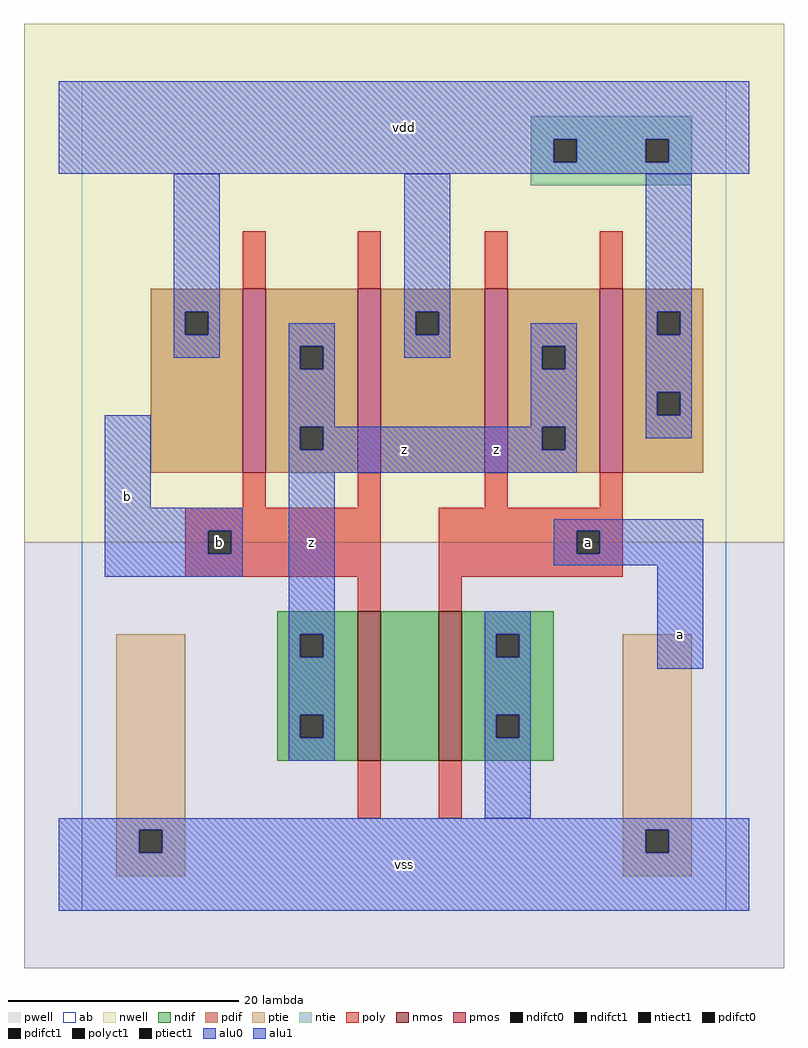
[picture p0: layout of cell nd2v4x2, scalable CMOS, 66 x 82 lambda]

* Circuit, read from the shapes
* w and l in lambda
.subckt nd2v4x2 a b vdd vss z
M1 n1 b z vss nfet w=13 l=2
M2 vss a n1 vss nfet w=13 l=2
M3 z b vdd vdd pfet w=16 l=2 m=2
M4 z a vdd vdd pfet w=16 l=2 m=2
.ends

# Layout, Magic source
magic
tech scmos
<< ab >>
rect 0 0 56 72
<< nwell >>
rect -5 32 61 77
<< pwell >>
rect -5 -5 61 32
<< poly >>
rect 14 54 16 59
rect 24 54 26 59
rect 35 54 37 59
rect 45 54 47 59
rect 14 35 16 38
rect 24 35 26 38
rect 35 35 37 38
rect 45 35 47 38
rect 9 33 26 35
rect 9 31 11 33
rect 13 31 26 33
rect 9 29 26 31
rect 24 26 26 29
rect 31 33 47 35
rect 31 31 43 33
rect 45 31 47 33
rect 31 29 47 31
rect 31 26 33 29
rect 24 8 26 13
rect 31 8 33 13
<< ndif >>
rect 17 24 24 26
rect 17 22 19 24
rect 21 22 24 24
rect 17 17 24 22
rect 17 15 19 17
rect 21 15 24 17
rect 17 13 24 15
rect 26 13 31 26
rect 33 24 41 26
rect 33 22 36 24
rect 38 22 41 24
rect 33 17 41 22
rect 33 15 36 17
rect 38 15 41 17
rect 33 13 41 15
<< pdif >>
rect 6 52 14 54
rect 6 50 9 52
rect 11 50 14 52
rect 6 38 14 50
rect 16 49 24 54
rect 16 47 19 49
rect 21 47 24 49
rect 16 42 24 47
rect 16 40 19 42
rect 21 40 24 42
rect 16 38 24 40
rect 26 52 35 54
rect 26 50 29 52
rect 31 50 35 52
rect 26 38 35 50
rect 37 49 45 54
rect 37 47 40 49
rect 42 47 45 49
rect 37 42 45 47
rect 37 40 40 42
rect 42 40 45 42
rect 37 38 45 40
rect 47 52 54 54
rect 47 50 50 52
rect 52 50 54 52
rect 47 45 54 50
rect 47 43 50 45
rect 52 43 54 45
rect 47 38 54 43
<< alu1 >>
rect -2 67 58 72
rect -2 65 41 67
rect 43 65 49 67
rect 51 65 58 67
rect -2 64 58 65
rect 18 49 22 51
rect 18 47 19 49
rect 21 47 22 49
rect 39 49 43 51
rect 2 35 6 43
rect 18 42 22 47
rect 39 47 40 49
rect 42 47 43 49
rect 39 42 43 47
rect 18 40 19 42
rect 21 40 40 42
rect 42 40 43 42
rect 18 38 43 40
rect 2 33 14 35
rect 2 31 11 33
rect 13 31 14 33
rect 2 29 14 31
rect 18 24 22 38
rect 41 33 54 34
rect 41 31 43 33
rect 45 31 54 33
rect 41 30 54 31
rect 18 22 19 24
rect 21 22 22 24
rect 18 17 22 22
rect 18 15 19 17
rect 21 15 22 17
rect 18 13 22 15
rect 50 21 54 30
rect -2 7 58 8
rect -2 5 5 7
rect 7 5 49 7
rect 51 5 58 7
rect -2 0 58 5
<< ptie >>
rect 3 7 9 24
rect 3 5 5 7
rect 7 5 9 7
rect 3 3 9 5
rect 47 7 53 24
rect 47 5 49 7
rect 51 5 53 7
rect 47 3 53 5
<< ntie >>
rect 39 67 53 69
rect 39 65 41 67
rect 43 65 49 67
rect 51 65 53 67
rect 39 63 53 65
<< nmos >>
rect 24 13 26 26
rect 31 13 33 26
<< pmos >>
rect 14 38 16 54
rect 24 38 26 54
rect 35 38 37 54
rect 45 38 47 54
<< polyct1 >>
rect 11 31 13 33
rect 43 31 45 33
<< ndifct0 >>
rect 36 22 38 24
rect 36 15 38 17
<< ndifct1 >>
rect 19 22 21 24
rect 19 15 21 17
<< ntiect1 >>
rect 41 65 43 67
rect 49 65 51 67
<< ptiect1 >>
rect 5 5 7 7
rect 49 5 51 7
<< pdifct0 >>
rect 9 50 11 52
rect 29 50 31 52
rect 50 50 52 52
rect 50 43 52 45
<< pdifct1 >>
rect 19 47 21 49
rect 19 40 21 42
rect 40 47 42 49
rect 40 40 42 42
<< alu0 >>
rect 8 52 12 64
rect 8 50 9 52
rect 11 50 12 52
rect 28 52 32 64
rect 8 48 12 50
rect 28 50 29 52
rect 31 50 32 52
rect 49 52 53 64
rect 28 48 32 50
rect 49 50 50 52
rect 52 50 53 52
rect 49 45 53 50
rect 49 43 50 45
rect 52 43 53 45
rect 49 41 53 43
rect 35 24 39 26
rect 35 22 36 24
rect 38 22 39 24
rect 35 17 39 22
rect 35 15 36 17
rect 38 15 39 17
rect 35 8 39 15
<< labels >>
rlabel alu1 4 36 4 36 6 b
rlabel polyct1 12 32 12 32 6 b
rlabel alu1 20 32 20 32 6 z
rlabel alu1 28 4 28 4 6 vss
rlabel alu1 36 40 36 40 6 z
rlabel alu1 28 40 28 40 6 z
rlabel alu1 28 68 28 68 6 vdd
rlabel polyct1 44 32 44 32 6 a
rlabel alu1 52 24 52 24 6 a
<< end >>
